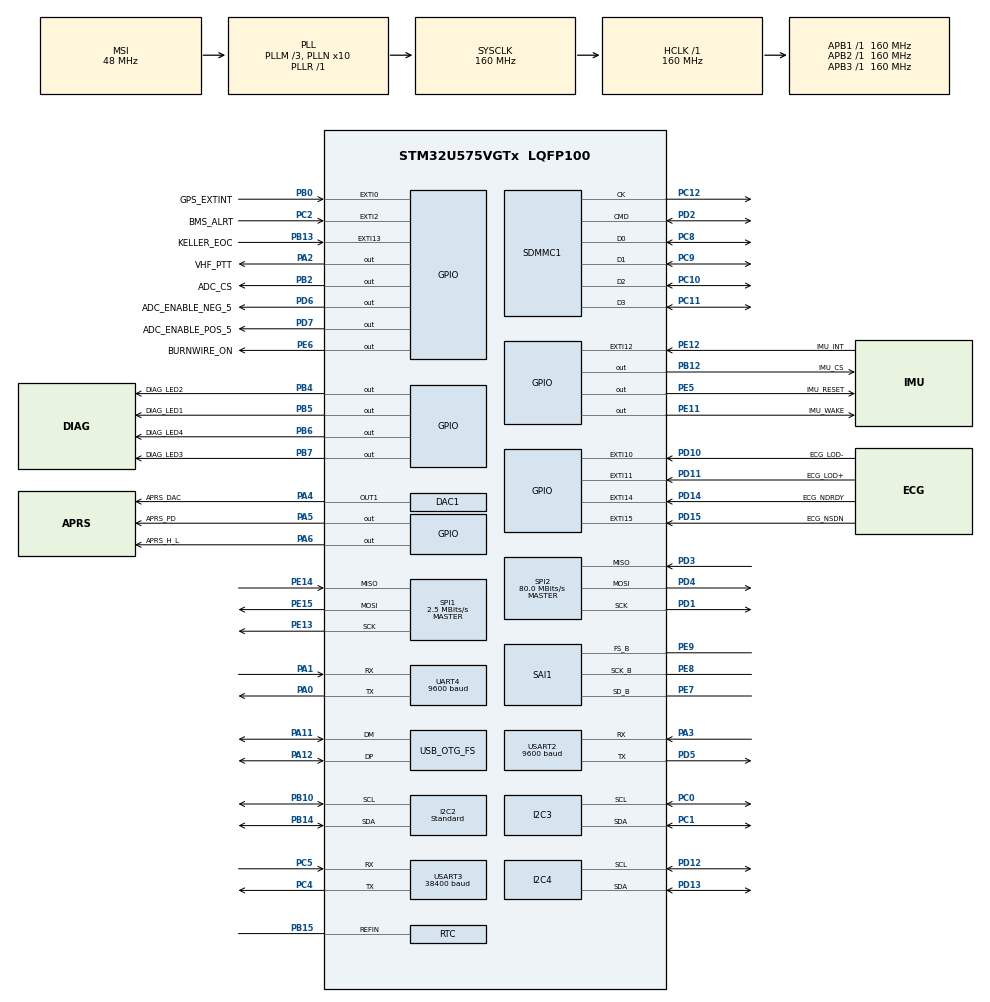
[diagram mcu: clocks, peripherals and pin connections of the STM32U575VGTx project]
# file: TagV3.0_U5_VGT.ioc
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CORTEX_M33_NS.userName=CORTEX_M33
DAC1.DAC_Channel-DAC_OUT1=DAC_CHANNEL_1
DAC1.DAC_OutputBuffer_OUT1-DAC_OUT1=DAC_OUTPUTBUFFER_ENABLE
DAC1.DAC_SampleAndHold-DAC_OUT1=DAC_SAMPLEANDHOLD_DISABLE
DAC1.DAC_SignedFormat-DAC_OUT1=DISABLE
DAC1.DAC_Trigger-DAC_OUT1=DAC_TRIGGER_T2_TRGO
DAC1.DAC_UserTrimming-DAC_OUT1=DAC_TRIMMING_FACTORY
FILEX.FILEX_APPLICATION_THREAD_PRIORITY=1
FILEX.FILEX_APPLICATION_THREAD_STACK_SIZE=2048
FILEX.FORMAT_SD_MEDIA=0
FILEX.FX_APP_MEM_POOL_SIZE=2500
FILEX.FX_DISABLE_ERROR_CHECKING=1
FILEX.FX_DONT_UPDATE_OPEN_FILES=1
FILEX.FX_DRIVER_SDMMC_INIT=0
FILEX.FX_ENABLE_EXFAT=1
FILEX.FX_EXFAT_MAX_CACHE_SIZE_NB_BIT=12
FILEX.FX_FAT_MAP_SIZE=256
FILEX.FX_FAULT_TOLERANT=1
FILEX.FX_FAULT_TOLERANT_CACHE_SIZE_NB_SIZE=14
FILEX.FX_FAULT_TOLERANT_DATA=1
FILEX.FX_SD_INTERFACE=1
FILEX.FX_UPDATE_RATE_IN_SECONDS=10
FILEX.useRTOS=1
GPDMA1.CIRCULARMODE_GPDMACH0=ENABLE
GPDMA1.CIRCULARMODE_GPDMACH1=ENABLE
GPDMA1.DESTBURSTLENGTH_GPDMACH0=1
GPDMA1.DESTDATAWIDTH_GPDMACH1=DMA_DEST_DATAWIDTH_WORD
GPDMA1.DESTINC_GPDMACH0=DMA_DINC_INCREMENTED
GPDMA1.DESTINC_GPDMACH1=DMA_DINC_FIXED
GPDMA1.DIRECTION_GPDMACH1=DMA_MEMORY_TO_PERIPH
GPDMA1.IPHANDLE_GPDMACH0-SIMPLEREQUEST_GPDMACH0=__NULL
GPDMA1.IPHANDLE_GPDMACH1-SIMPLEREQUEST_GPDMACH1=__NULL
GPDMA1.PRIORITY_LL_CIRCULAR_GPDMACH0=DMA_LOW_PRIORITY_LOW_WEIGHT
GPDMA1.PRIORITY_LL_CIRCULAR_GPDMACH1=DMA_LOW_PRIORITY_LOW_WEIGHT
GPDMA1.REQUEST_GPDMACH0=GPDMA1_REQUEST_SAI1_B
GPDMA1.REQUEST_GPDMACH1=GPDMA1_REQUEST_DAC1_CH1
GPDMA1.SRCBURSTLENGTH_GPDMACH0=1
GPDMA1.SRCDATAWIDTH_GPDMACH1=DMA_SRC_DATAWIDTH_WORD
GPDMA1.SRCINC_GPDMACH1=DMA_SINC_INCREMENTED
I2C2.I2C_Speed_Mode=I2C_Standard
I2C2.Speed=50
I2C2.Timing=0x90303EFE
I2C3.Timing=0x30909DEC
I2C4.Timing=0x30909DEC
Mcu.Family=STM32U5
Mcu.Name=STM32U575VGTx
Mcu.Package=LQFP100
NVIC.EXTI12_IRQn=true\:3\:0\:true\:false\:true\:false\:true\:true\:true
NVIC.EXTI13_IRQn=true\:0\:0\:false\:false\:true\:false\:true\:true\:true
NVIC.EXTI14_IRQn=true\:2\:0\:true\:false\:true\:false\:true\:true\:true
NVIC.GPDMA1_Channel0_IRQn=true\:0\:0\:false\:false\:true\:false\:false\:true\:true
NVIC.GPDMA1_Channel1_IRQn=true\:0\:0\:false\:false\:true\:true\:false\:true\:true
NVIC.OTG_FS_IRQn=true\:0\:0\:false\:false\:true\:false\:true\:true\:true
NVIC.PriorityGroup=NVIC_PRIORITYGROUP_4
NVIC.SDMMC1_IRQn=true\:0\:0\:true\:false\:true\:false\:true\:true\:true
NVIC.TIM2_IRQn=true\:0\:0\:false\:false\:true\:false\:true\:true\:true
NVIC.TIM6_IRQn=true\:15\:0\:false\:false\:true\:false\:false\:true\:true
NVIC.TimeBase=TIM6_IRQn
NVIC.TimeBaseIP=TIM6
NVIC.UART4_IRQn=true\:0\:0\:false\:false\:true\:false\:true\:true\:true
NVIC.USART2_IRQn=true\:0\:0\:false\:false\:true\:false\:true\:true\:true
NVIC.USART3_IRQn=true\:0\:0\:false\:false\:true\:false\:true\:true\:true
PA0.Mode=Asynchronous
PA0.Signal=UART4_TX
PA1.Mode=Asynchronous
PA1.Signal=UART4_RX
PA11.Mode=Device_Only
PA11.Signal=USB_OTG_FS_DM
PA12.Mode=Device_Only
PA12.Signal=USB_OTG_FS_DP
PA13\ (JTMS/SWDIO).Mode=Trace_Asynchronous_SW
PA13\ (JTMS/SWDIO).Signal=DEBUG_JTMS-SWDIO
PA14\ (JTCK/SWCLK).Mode=Trace_Asynchronous_SW
PA14\ (JTCK/SWCLK).Signal=DEBUG_JTCK-SWCLK
PA2.GPIO_Label=VHF_PTT
PA2.PinState=GPIO_PIN_RESET
PA2.Signal=GPIO_Output
PA3.Mode=Asynchronous
PA3.Signal=USART2_RX
PA4.GPIO_Label=APRS_DAC
PA4.Signal=COMP_DAC11_group
PA5.GPIO_Label=APRS_PD
PA5.PinState=GPIO_PIN_SET
PA5.Signal=GPIO_Output
PA6.GPIO_Label=APRS_H_L
PA6.Signal=GPIO_Output
PB0.GPIO_Label=GPS_EXTINT
PB0.Signal=GPXTI0
PB10.Mode=I2C
PB10.PinAttribute=Free
PB10.Signal=I2C2_SCL
PB12.GPIO_Label=IMU_CS
PB12.PinAttribute=Free
PB12.PinState=GPIO_PIN_SET
PB12.Signal=GPIO_Output
PB13.GPIO_Label=KELLER_EOC
PB13.PinAttribute=Free
PB13.Signal=GPXTI13
PB14.Mode=I2C
PB14.PinAttribute=Free
PB14.Signal=I2C2_SDA
PB15.Mode=Reference_Clock_Detection_Activate
PB15.PinAttribute=Free
PB15.Signal=RTC_REFIN
PB2.GPIO_Label=ADC_CS
PB2.PinState=GPIO_PIN_SET
PB2.Signal=GPIO_Output
PB3\ (JTDO/TRACESWO).Mode=Trace_Asynchronous_SW
PB3\ (JTDO/TRACESWO).Signal=DEBUG_JTDO-SWO
PB4\ (NJTRST).GPIO_Label=DIAG_LED2
PB4\ (NJTRST).Signal=GPIO_Output
PB5.GPIO_Label=DIAG_LED1
PB5.Signal=GPIO_Output
PB6.GPIO_Label=DIAG_LED4
PB6.Signal=GPIO_Output
PB7.GPIO_Label=DIAG_LED3
PB7.Signal=GPIO_Output
PC0.Mode=I2C
PC0.Signal=I2C3_SCL
PC1.Mode=I2C
PC1.PinAttribute=Free
PC1.Signal=I2C3_SDA
PC10.Mode=SD_4_bits_Wide_bus
PC10.PinAttribute=Free
PC10.Signal=SDMMC1_D2
PC11.Mode=SD_4_bits_Wide_bus
PC11.PinAttribute=Free
PC11.Signal=SDMMC1_D3
PC12.Mode=SD_4_bits_Wide_bus
PC12.PinAttribute=Free
PC12.Signal=SDMMC1_CK
PC14-OSC32_IN\ (PC14).Mode=LSE-External-Oscillator
PC14-OSC32_IN\ (PC14).Signal=RCC_OSC32_IN
PC15-OSC32_OUT\ (PC15).Mode=LSE-External-Oscillator
PC15-OSC32_OUT\ (PC15).Signal=RCC_OSC32_OUT
PC2.GPIO_Label=BMS_ALRT
PC2.PinAttribute=Free
PC2.Signal=GPXTI2
PC4.Mode=Asynchronous
PC4.Signal=USART3_TX
PC5.Mode=Asynchronous
PC5.Signal=USART3_RX
PC8.Mode=SD_4_bits_Wide_bus
PC8.PinAttribute=Free
PC8.Signal=SDMMC1_D0
PC9.Mode=SD_4_bits_Wide_bus
PC9.PinAttribute=Free
PC9.Signal=SDMMC1_D1
PD1.Mode=Full_Duplex_Master
PD1.PinAttribute=Free
PD1.Signal=SPI2_SCK
PD10.GPIO_Label=ECG_LOD-
PD10.PinAttribute=Free
PD10.Signal=GPXTI10
PD11.GPIO_Label=ECG_LOD+
PD11.PinAttribute=Free
PD11.Signal=GPXTI11
PD12.Mode=I2C
PD12.PinAttribute=Free
PD12.Signal=I2C4_SCL
PD13.Mode=I2C
PD13.PinAttribute=Free
PD13.Signal=I2C4_SDA
PD14.GPIO_Label=ECG_NDRDY
PD14.PinAttribute=Free
PD14.Signal=GPXTI14
PD15.GPIO_Label=ECG_NSDN
PD15.PinAttribute=Free
PD15.Signal=GPXTI15
PD2.Mode=SD_4_bits_Wide_bus
PD2.PinAttribute=Free
PD2.Signal=SDMMC1_CMD
PD3.Mode=Full_Duplex_Master
PD3.PinAttribute=Free
PD3.Signal=SPI2_MISO
PD4.Mode=Full_Duplex_Master
PD4.PinAttribute=Free
PD4.Signal=SPI2_MOSI
PD5.Mode=Asynchronous
PD5.Signal=USART2_TX
PD6.GPIO_Label=ADC_ENABLE_NEG_5
PD6.PinState=GPIO_PIN_RESET
PD6.Signal=GPIO_Output
PD7.GPIO_Label=ADC_ENABLE_POS_5
PD7.PinState=GPIO_PIN_RESET
PD7.Signal=GPIO_Output
PE11.GPIO_Label=IMU_WAKE
PE11.GPIO_ModeDefaultOutputPP=GPIO_MODE_OUTPUT_OD
PE11.GPIO_PuPd=GPIO_NOPULL
PE11.PinState=GPIO_PIN_SET
PE11.Signal=GPIO_Output
PE12.GPIO_Label=IMU_INT
PE12.GPIO_ModeDefaultEXTI=GPIO_MODE_IT_FALLING
PE12.Signal=GPXTI12
PE13.Mode=Full_Duplex_Master
PE13.Signal=SPI1_SCK
PE14.Mode=Full_Duplex_Master
PE14.Signal=SPI1_MISO
PE15.Mode=Full_Duplex_Master
PE15.Signal=SPI1_MOSI
PE5.GPIO_Label=IMU_RESET
PE5.PinState=GPIO_PIN_SET
PE5.Signal=GPIO_Output
PE6.GPIO_Label=BURNWIRE_ON
PE6.Signal=GPIO_Output
PE7.Mode=SAI_B_AsyncSlave
PE7.Signal=SAI1_SD_B
PE8.Mode=SAI_B_AsyncSlave
PE8.Signal=SAI1_SCK_B
PE9.Mode=SAI_B_AsyncSlave
PE9.Signal=SAI1_FS_B
PH0-OSC_IN\ (PH0).Mode=HSE-External-Oscillator
PH0-OSC_IN\ (PH0).Signal=RCC_OSC_IN
PH1-OSC_OUT\ (PH1).Mode=HSE-External-Oscillator
PH1-OSC_OUT\ (PH1).Signal=RCC_OSC_OUT
ProjectManager.HeapSize=0x200
ProjectManager.StackSize=0x400
ProjectManager.TargetToolchain=STM32CubeIDE
RCC.ADCFreq_Value=16000000
RCC.AHBFreq_Value=160000000
RCC.APB1Freq_Value=160000000
RCC.APB1TimFreq_Value=160000000
RCC.APB2Freq_Value=160000000
RCC.APB2TimFreq_Value=160000000
RCC.APB3Freq_Value=160000000
RCC.CK48CLockSelection=RCC_CLK48CLKSOURCE_HSI48
RCC.CortexFreq_Value=160000000
RCC.EPOD_VALUE=48000000
RCC.HCLKFreq_Value=160000000
RCC.HSE_VALUE=16000000
RCC.HSI48_VALUE=48000000
RCC.HSI_VALUE=16000000
RCC.LSIDIV_VALUE=32000
RCC.MSIClockRange=RCC_MSIRANGE_0
RCC.MSI_VALUE=48000000
RCC.PLL1P=1
RCC.PLL1R=1
RCC.PLL2FRACN=0
RCC.PLL2M=3
RCC.PLL2N=8
RCC.PLL2P=1
RCC.PLL3FRACN=0
RCC.PLLFRACN=0
RCC.PLLM=3
RCC.PLLN=10
RCC.SDMMCClockSelection=RCC_SDMMCCLKSOURCE_CLK48
RCC.SYSCLKFreq_VALUE=160000000
RCC.SYSCLKSource=RCC_SYSCLKSOURCE_PLLCLK
RCC.USBFreq_Value=48000000
RCC.VCOOutputFreq_Value=160000000
RTC.rtcPrivilegeFull=RTC_PRIVILEGE_FULL_NO
SAI1.ActiveFrameLength-SAI_B_AsyncSlave=1
SAI1.FSDefinition-SAI_B_AsyncSlave=SAI_FS_STARTFRAME
SAI1.FSOffset-SAI_B_AsyncSlave=SAI_FS_FIRSTBIT
SAI1.FSPolarity-SAI_B_AsyncSlave=SAI_FS_ACTIVE_LOW
SAI1.FrameLength-SAI_B_AsyncSlave=128
SAI1.Instance-SAI_B_AsyncSlave=SAI$Index_Block_B
SAI1.OutputDrive-SAI_B_AsyncSlave=SAI_OUTPUTDRIVE_DISABLE
SAI1.SlotActive-SAI_B_AsyncSlave=0x00000EEE
SAI1.SlotNumber-SAI_B_AsyncSlave=16
SAI1.VirtualMode-SAI_B_AsyncSlave=VM_SLAVE
SAI1.VirtualSlotActive-SAI_B_AsyncSlave=SAI_SLOT_USERSETTING
SAI1.VirtualSlotActive0-SAI_B_AsyncSlave=false
SAI1.VirtualSlotActive1-SAI_B_AsyncSlave=true
SAI1.VirtualSlotActive10-SAI_B_AsyncSlave=true
SAI1.VirtualSlotActive11-SAI_B_AsyncSlave=true
SAI1.VirtualSlotActive12-SAI_B_AsyncSlave=false
SAI1.VirtualSlotActive13-SAI_B_AsyncSlave=false
SAI1.VirtualSlotActive14-SAI_B_AsyncSlave=false
SAI1.VirtualSlotActive15-SAI_B_AsyncSlave=false
SAI1.VirtualSlotActive2-SAI_B_AsyncSlave=true
SAI1.VirtualSlotActive3-SAI_B_AsyncSlave=true
SAI1.VirtualSlotActive4-SAI_B_AsyncSlave=false
SAI1.VirtualSlotActive5-SAI_B_AsyncSlave=true
SAI1.VirtualSlotActive6-SAI_B_AsyncSlave=true
SAI1.VirtualSlotActive7-SAI_B_AsyncSlave=true
SAI1.VirtualSlotActive8-SAI_B_AsyncSlave=false
SAI1.VirtualSlotActive9-SAI_B_AsyncSlave=true
SDMMC1.ClockDiv=2
SDMMC1.ClockPowerSave=SDMMC_CLOCK_POWER_SAVE_DISABLE
SH.COMP_DAC11_group.0=DAC1_OUT1,DAC_OUT1
SPI1.BaudRatePrescaler=SPI_BAUDRATEPRESCALER_64
SPI1.CLKPhase=SPI_PHASE_2EDGE
SPI1.CLKPolarity=SPI_POLARITY_HIGH
SPI1.CalculateBaudRate=2.5 MBits/s
SPI1.DataSize=SPI_DATASIZE_8BIT
SPI1.Direction=SPI_DIRECTION_2LINES
SPI1.MasterInterDataIdleness=SPI_MASTER_INTERDATA_IDLENESS_08CYCLE
SPI1.Mode=SPI_MODE_MASTER
SPI1.VirtualType=VM_MASTER
SPI2.CalculateBaudRate=80.0 MBits/s
SPI2.Direction=SPI_DIRECTION_2LINES
SPI2.Mode=SPI_MODE_MASTER
SPI2.VirtualType=VM_MASTER
THREADX.AZRTOS_APP_MEM_ALLOCATION_METHOD=1
THREADX.TX_APP_MEM_POOL_SIZE=20*2048
THREADX.TX_MINIMUM_STACK=200
THREADX.TX_TIMER_TICKS_PER_SECOND=20000
TIM2.PeriodNoDither=45
TIM2.Prescaler=16-1
TIM2.TIM_MasterOutputTrigger=TIM_TRGO_UPDATE
UART4.BaudRate=9600
UART4.ClockPrescaler=PRESCALER_DIV1
UART4.OverrunDisableParam=UART_ADVFEATURE_OVERRUN_DISABLE
USART2.BaudRate=9600
USART2.FIFOMode=FIFOMODE_ENABLE
USART2.VirtualMode-Asynchronous=VM_ASYNC
USART3.BaudRate=38400
USART3.FIFOMode=FIFOMODE_ENABLE
USART3.VirtualMode-Asynchronous=VM_ASYNC
USBX.BSP.number=1
USBX.Core_System=1
USBX.MAX_POWER_IN_MILLI_AMPER=100
USBX.REG_USBX_DEVICE_CON_CK=1
USBX.USBD_CDCACM_EPINCMD_ADDR=3
USBX.USBD_CDCACM_EPINCMD_FS_BINTERVAL=6
USBX.USBD_CDCACM_EPIN_ADDR=4
USBX.USBD_CDCACM_EPOUT_ADDR=5
USBX.USBD_COMPOSITE_USE_IAD=1
USBX.USBD_PID=22304
USBX.USBD_PRODUCT_STRING=STM32 USB Device
USBX.USBX_DEVICE_APP_THREAD_PRIO=1
USBX.USBX_DEVICE_APP_THREAD_Size=2048
USBX.USBX_DEVICE_SYS_SIZE=15*1024
USBX.UX_DEVICE_APP_MEM_POOL_SIZE=20000
USBX.UX_DEVICE_CDC_ACM=1
USBX.UX_DEVICE_CLASS_CDC_ACM_TRANSMISSION_DISABLE=0
USBX.UX_DEVICE_CLASS_CDC_ACM_WRITE_AUTO_ZLP=1
USBX.UX_DEVICE_SIDE_ONLY=1
USBX.UX_DEVICE_STORAGE=1
USBX.UX_Device_Controller=1
USBX.UX_Device_CoreStack=1
USBX.UX_MAX_SLAVE_CLASS_DRIVER=2
USBX.UX_OTG_SUPPORT-UX_Device_CoreStack_FS=0
USBX.UX_SLAVE_CLASS_STORAGE_INCLUDE_MMC=0
USBX.UX_SLAVE_REQUEST_CONTROL_MAX_LENGTH=256
USBX.UX_SLAVE_REQUEST_DATA_MAX_LENGTH=512
USBX.UX_THREAD_PRIORITY_CLASS=1
USBX.UX_THREAD_PRIORITY_DCD=2
USBX0.BSP.STBoard=false
USBX0.BSP.api=Unknown
USBX0.BSP.condition=SEMAOoUSBOoOTGOoFSOoDEVICEOoFOROoUSBX & \!DIE455
USBX0.BSP.instance=USB_OTG_FS
USBX0.BSP.ip=USB_OTG_FS
USBX0.BSP.mode=Device_Only
USBX0.BSP.name=USBDevice
USBX0.BSP.solution=USB_OTG_FS
USB_OTG_FS.Sof_enable-Device_Only=ENABLE
USB_OTG_FS.VirtualMode=Device_Only
VP_FILEX_VS_FileOoSystemJjFileXJjCore.Mode=FileX_Core
VP_FILEX_VS_SDOointerface.Mode=SD_interface
VP_GPDMA1_VS_GPDMACH0.Mode=SIMPLEREQUEST_GPDMACH0
VP_GPDMA1_VS_GPDMACH1.Mode=SIMPLEREQUEST_GPDMACH1
VP_LPBAMQUEUE_VS_QUEUE.Mode=QUEUEMODE
VP_LPBAM_VS_SIG1.Mode=SmartRun
VP_LPBAM_VS_SIG4.Mode=LPDMA1
VP_PWR_VS_LPOM.Mode=PowerOptimisation
VP_PWR_VS_SECSignals.Mode=Security/Privilege
VP_RTC_VS_RTC_Activate.Mode=RTC_Enabled
VP_SYS_VS_tim6.Mode=TIM6
VP_THREADX_VS_RTOSJjThreadXJjCoreJjDefault.Mode=Core_Default
VP_TIM2_VS_ClockSourceINT.Mode=Internal
VP_USBX_Core_System.Mode=Core_System
VP_USBX_UX\ Device\ CDC\ ACM\ Class_FS.Mode=UX_Device_class_CDC_ACM_FS
VP_USBX_UX\ Device\ Controller_FS.Mode=UX_Device_Controller_FS
VP_USBX_UX\ Device\ CoreStack_FS.Mode=UX_Device_CoreStack_FS
VP_USBX_UX\ Device\ MSC_FS.Mode=UX_Device_class_MSC_FS
VREF+.Mode=InternalMode
VREF+.Signal=VREFBUF_OUT
VREFBUF.VoltageScaling=SYSCFG_VREFBUF_VOLTAGE_SCALE3
board=custom

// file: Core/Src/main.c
/* USER CODE BEGIN Header */
/**
  ******************************************************************************
  * @file           : main.c
  * @brief          : Main program body
  ******************************************************************************
  * @attention
  *
  * Copyright (c) 2023 STMicroelectronics.
  * All rights reserved.
  *
  * This software is licensed under terms that can be found in the LICENSE file
  * in the root directory of this software component.
  * If no LICENSE file comes with this software, it is provided AS-IS.
  *
  ******************************************************************************
  */
/* USER CODE END Header */
#include "app_threadx.h"
#include "main.h"

/* USER CODE BEGIN Includes */
//#include "config.h"
//#include "UnitTests.h"
#include "Sensor Inc/BNO08x.h"
#include "Sensor Inc/BMS.h"
#include "Sensor Inc/audio.h"
#include "Sensor Inc/ECG.h"
#include "Sensor Inc/KellerDepth.h"
#include "Sensor Inc/LightSensor.h"
#include "Sensor Inc/ad7768.h"
#include "app_filex.h"
#include "ux_device_cdc_acm.h"

/* USER CODE END Includes */

DAC_HandleTypeDef hdac1;
DMA_NodeTypeDef Node_GPDMA1_Channel1;
DMA_QListTypeDef List_GPDMA1_Channel1;
DMA_HandleTypeDef handle_GPDMA1_Channel1;

I2C_HandleTypeDef hi2c2;
I2C_HandleTypeDef hi2c3;
I2C_HandleTypeDef hi2c4;

RTC_HandleTypeDef hrtc;

SAI_HandleTypeDef hsai_BlockB1;
DMA_NodeTypeDef Node_GPDMA1_Channel0;
DMA_QListTypeDef List_GPDMA1_Channel0;
DMA_HandleTypeDef handle_GPDMA1_Channel0;

SD_HandleTypeDef hsd1;

SPI_HandleTypeDef hspi1;
SPI_HandleTypeDef hspi2;

TIM_HandleTypeDef htim2;

UART_HandleTypeDef huart4;
UART_HandleTypeDef huart2;
UART_HandleTypeDef huart3;

PCD_HandleTypeDef hpcd_USB_OTG_FS;

/* USER CODE BEGIN PV */

// usb handler
extern UX_SLAVE_CLASS_CDC_ACM *cdc_acm;

// define all sensor handlers
IMU_HandleTypeDef imu;
MAX17320_HandleTypeDef bms;
AudioManager audio;
ECG_HandleTypeDef ecg;
Keller_HandleTypedef depth_sensor;
LightSensorHandleTypedef light_sensor;

/* USER CODE END PV */

void SystemClock_Config(void);
static void MX_GPIO_Init(void);
static void MX_GPDMA1_Init(void);
static void MX_USART2_UART_Init(void);
static void MX_I2C4_Init(void);
static void MX_I2C3_Init(void);
static void MX_USB_OTG_FS_PCD_Init(void);
static void MX_SDMMC1_SD_Init(void);
static void MX_SPI1_Init(void);
static void MX_UART4_Init(void);
static void MX_RTC_Init(void);
static void MX_I2C2_Init(void);
static void MX_SAI1_Init(void);
static void MX_SPI2_Init(void);
static void MX_USART3_UART_Init(void);
static void MX_DAC1_Init(void);
static void MX_TIM2_Init(void);

int main(void)
{

  /* MCU Configuration--------------------------------------------------------*/

  /* Reset of all peripherals, Initializes the Flash interface and the Systick. */
  HAL_Init();

  /* USER CODE BEGIN Init */
  // disable interrupts (enabled later)
  HAL_NVIC_DisableIRQ(EXTI12_IRQn);
  HAL_NVIC_DisableIRQ(EXTI14_IRQn);
  /* USER CODE END Init */

  /* Configure the system clock */
  SystemClock_Config();

  /* Initialize all configured peripherals */
  MX_GPIO_Init();
  MX_GPDMA1_Init();
  MX_USART2_UART_Init();
  MX_I2C4_Init();
  MX_I2C3_Init();
  MX_USB_OTG_FS_PCD_Init();
  MX_SDMMC1_SD_Init();
  MX_SPI1_Init();
  MX_UART4_Init();
  MX_RTC_Init();
  MX_I2C2_Init();
  MX_SAI1_Init();
  MX_SPI2_Init();
  MX_USART3_UART_Init();
  MX_DAC1_Init();
  MX_TIM2_Init();
  /* USER CODE BEGIN 2 */

  // check status of battery
  HAL_StatusTypeDef ret = max17320_get_status(&bms);
  if (ret != HAL_OK) {
	  Error_Handler();
  }

  // Indicate hardware issue or connector plugged in before battery
  while (bms.status.protection_alert) {
    HAL_GPIO_WritePin(GPIOB, DIAG_LED3_Pin, GPIO_PIN_SET);
    max17320_clear_alerts(&bms);
    HAL_Delay(2000);
    max17320_get_status(&bms);
  }
  HAL_GPIO_WritePin(GPIOB, DIAG_LED3_Pin, GPIO_PIN_RESET);

  /* USER CODE END 2 */

  MX_ThreadX_Init();

  /* We should never get here as control is now taken by the scheduler */
  /* Infinite loop */
  while (1)
  {

  }
}

void SystemClock_Config(void)
{
  RCC_OscInitTypeDef RCC_OscInitStruct = {0};
  RCC_ClkInitTypeDef RCC_ClkInitStruct = {0};

  /** Configure the main internal regulator output voltage
  */
  if (HAL_PWREx_ControlVoltageScaling(PWR_REGULATOR_VOLTAGE_SCALE1) != HAL_OK)
  {
    Error_Handler();
  }

  /** Initializes the CPU, AHB and APB buses clocks
  */
  RCC_OscInitStruct.OscillatorType = RCC_OSCILLATORTYPE_HSI48|RCC_OSCILLATORTYPE_HSI
                              |RCC_OSCILLATORTYPE_LSI|RCC_OSCILLATORTYPE_MSI;
  RCC_OscInitStruct.HSIState = RCC_HSI_ON;
  RCC_OscInitStruct.HSI48State = RCC_HSI48_ON;
  RCC_OscInitStruct.HSICalibrationValue = RCC_HSICALIBRATION_DEFAULT;
  RCC_OscInitStruct.LSIState = RCC_LSI_ON;
  RCC_OscInitStruct.MSIState = RCC_MSI_ON;
  RCC_OscInitStruct.MSICalibrationValue = RCC_MSICALIBRATION_DEFAULT;
  RCC_OscInitStruct.MSIClockRange = RCC_MSIRANGE_0;
  RCC_OscInitStruct.LSIDiv = RCC_LSI_DIV1;
  RCC_OscInitStruct.PLL.PLLState = RCC_PLL_ON;
  RCC_OscInitStruct.PLL.PLLSource = RCC_PLLSOURCE_MSI;
  RCC_OscInitStruct.PLL.PLLMBOOST = RCC_PLLMBOOST_DIV4;
  RCC_OscInitStruct.PLL.PLLM = 3;
  RCC_OscInitStruct.PLL.PLLN = 10;
  RCC_OscInitStruct.PLL.PLLP = 1;
  RCC_OscInitStruct.PLL.PLLQ = 2;
  RCC_OscInitStruct.PLL.PLLR = 1;
  RCC_OscInitStruct.PLL.PLLRGE = RCC_PLLVCIRANGE_1;
  RCC_OscInitStruct.PLL.PLLFRACN = 0;
  if (HAL_RCC_OscConfig(&RCC_OscInitStruct) != HAL_OK)
  {
    Error_Handler();
  }

  /** Initializes the CPU, AHB and APB buses clocks
  */
  RCC_ClkInitStruct.ClockType = RCC_CLOCKTYPE_HCLK|RCC_CLOCKTYPE_SYSCLK
                              |RCC_CLOCKTYPE_PCLK1|RCC_CLOCKTYPE_PCLK2
                              |RCC_CLOCKTYPE_PCLK3;
  RCC_ClkInitStruct.SYSCLKSource = RCC_SYSCLKSOURCE_PLLCLK;
  RCC_ClkInitStruct.AHBCLKDivider = RCC_SYSCLK_DIV1;
  RCC_ClkInitStruct.APB1CLKDivider = RCC_HCLK_DIV1;
  RCC_ClkInitStruct.APB2CLKDivider = RCC_HCLK_DIV1;
  RCC_ClkInitStruct.APB3CLKDivider = RCC_HCLK_DIV1;

  if (HAL_RCC_ClockConfig(&RCC_ClkInitStruct, FLASH_LATENCY_4) != HAL_OK)
  {
    Error_Handler();
  }
}

static void MX_DAC1_Init(void)
{

  DAC_ChannelConfTypeDef sConfig = {0};
  DAC_AutonomousModeConfTypeDef sAutonomousMode = {0};

  /** DAC Initialization
  */
  hdac1.Instance = DAC1;
  if (HAL_DAC_Init(&hdac1) != HAL_OK)
  {
    Error_Handler();
  }

  /** DAC channel OUT1 config
  */
  sConfig.DAC_HighFrequency = DAC_HIGH_FREQUENCY_INTERFACE_MODE_DISABLE;
  sConfig.DAC_DMADoubleDataMode = DISABLE;
  sConfig.DAC_SignedFormat = DISABLE;
  sConfig.DAC_SampleAndHold = DAC_SAMPLEANDHOLD_DISABLE;
  sConfig.DAC_Trigger = DAC_TRIGGER_T2_TRGO;
  sConfig.DAC_OutputBuffer = DAC_OUTPUTBUFFER_ENABLE;
  sConfig.DAC_ConnectOnChipPeripheral = DAC_CHIPCONNECT_EXTERNAL;
  sConfig.DAC_UserTrimming = DAC_TRIMMING_FACTORY;
  if (HAL_DAC_ConfigChannel(&hdac1, &sConfig, DAC_CHANNEL_1) != HAL_OK)
  {
    Error_Handler();
  }

  /** Configure Autonomous Mode
  */
  sAutonomousMode.AutonomousModeState = DAC_AUTONOMOUS_MODE_DISABLE;
  if (HAL_DACEx_SetConfigAutonomousMode(&hdac1, &sAutonomousMode) != HAL_OK)
  {
    Error_Handler();
  }

}

static void MX_GPDMA1_Init(void)
{

  /* Peripheral clock enable */
  __HAL_RCC_GPDMA1_CLK_ENABLE();

  /* GPDMA1 interrupt Init */
    HAL_NVIC_SetPriority(GPDMA1_Channel0_IRQn, 0, 0);
    HAL_NVIC_EnableIRQ(GPDMA1_Channel0_IRQn);
    HAL_NVIC_SetPriority(GPDMA1_Channel1_IRQn, 0, 0);
    HAL_NVIC_EnableIRQ(GPDMA1_Channel1_IRQn);

}

static void MX_I2C2_Init(void)
{

  hi2c2.Instance = I2C2;
  hi2c2.Init.Timing = 0x90303EFE;
  hi2c2.Init.OwnAddress1 = 0;
  hi2c2.Init.AddressingMode = I2C_ADDRESSINGMODE_7BIT;
  hi2c2.Init.DualAddressMode = I2C_DUALADDRESS_DISABLE;
  hi2c2.Init.OwnAddress2 = 0;
  hi2c2.Init.OwnAddress2Masks = I2C_OA2_NOMASK;
  hi2c2.Init.GeneralCallMode = I2C_GENERALCALL_DISABLE;
  hi2c2.Init.NoStretchMode = I2C_NOSTRETCH_DISABLE;
  if (HAL_I2C_Init(&hi2c2) != HAL_OK)
  {
    Error_Handler();
  }

  /** Configure Analogue filter
  */
  if (HAL_I2CEx_ConfigAnalogFilter(&hi2c2, I2C_ANALOGFILTER_ENABLE) != HAL_OK)
  {
    Error_Handler();
  }

  /** Configure Digital filter
  */
  if (HAL_I2CEx_ConfigDigitalFilter(&hi2c2, 0) != HAL_OK)
  {
    Error_Handler();
  }

}

static void MX_I2C3_Init(void)
{

  hi2c3.Instance = I2C3;
  hi2c3.Init.Timing = 0x30909DEC;
  hi2c3.Init.OwnAddress1 = 0;
  hi2c3.Init.AddressingMode = I2C_ADDRESSINGMODE_7BIT;
  hi2c3.Init.DualAddressMode = I2C_DUALADDRESS_DISABLE;
  hi2c3.Init.OwnAddress2 = 0;
  hi2c3.Init.OwnAddress2Masks = I2C_OA2_NOMASK;
  hi2c3.Init.GeneralCallMode = I2C_GENERALCALL_DISABLE;
  hi2c3.Init.NoStretchMode = I2C_NOSTRETCH_DISABLE;
  if (HAL_I2C_Init(&hi2c3) != HAL_OK)
  {
    Error_Handler();
  }

  /** Configure Analogue filter
  */
  if (HAL_I2CEx_ConfigAnalogFilter(&hi2c3, I2C_ANALOGFILTER_ENABLE) != HAL_OK)
  {
    Error_Handler();
  }

  /** Configure Digital filter
  */
  if (HAL_I2CEx_ConfigDigitalFilter(&hi2c3, 0) != HAL_OK)
  {
    Error_Handler();
  }
  /* USER CODE BEGIN I2C3_Init 2 */

  // initialize bms
  HAL_StatusTypeDef ret = max17320_init(&hi2c3, &bms);
  if (ret != HAL_OK) {
	// indicate communication with bms has failed
	Error_Handler();
  }

  // enable discharging from battery
  ret = max17320_start_discharge(&bms);
  if (ret != HAL_OK) {
	// indicate communication with bms has failed
    Error_Handler();
  }

  /* USER CODE END I2C3_Init 2 */

}

static void MX_I2C4_Init(void)
{

  hi2c4.Instance = I2C4;
  hi2c4.Init.Timing = 0x30909DEC;
  hi2c4.Init.OwnAddress1 = 0;
  hi2c4.Init.AddressingMode = I2C_ADDRESSINGMODE_7BIT;
  hi2c4.Init.DualAddressMode = I2C_DUALADDRESS_DISABLE;
  hi2c4.Init.OwnAddress2 = 0;
  hi2c4.Init.OwnAddress2Masks = I2C_OA2_NOMASK;
  hi2c4.Init.GeneralCallMode = I2C_GENERALCALL_DISABLE;
  hi2c4.Init.NoStretchMode = I2C_NOSTRETCH_DISABLE;
  if (HAL_I2C_Init(&hi2c4) != HAL_OK)
  {
    Error_Handler();
  }

  /** Configure Analogue filter
  */
  if (HAL_I2CEx_ConfigAnalogFilter(&hi2c4, I2C_ANALOGFILTER_ENABLE) != HAL_OK)
  {
    Error_Handler();
  }

  /** Configure Digital filter
  */
  if (HAL_I2CEx_ConfigDigitalFilter(&hi2c4, 0) != HAL_OK)
  {
    Error_Handler();
  }

}

static void MX_RTC_Init(void)
{

  RTC_PrivilegeStateTypeDef privilegeState = {0};

  /** Initialize RTC Only
  */
  hrtc.Instance = RTC;
  hrtc.Init.HourFormat = RTC_HOURFORMAT_24;
  hrtc.Init.AsynchPrediv = 127;
  hrtc.Init.SynchPrediv = 255;
  hrtc.Init.OutPut = RTC_OUTPUT_DISABLE;
  hrtc.Init.OutPutRemap = RTC_OUTPUT_REMAP_NONE;
  hrtc.Init.OutPutPolarity = RTC_OUTPUT_POLARITY_HIGH;
  hrtc.Init.OutPutType = RTC_OUTPUT_TYPE_OPENDRAIN;
  hrtc.Init.OutPutPullUp = RTC_OUTPUT_PULLUP_NONE;
  hrtc.Init.BinMode = RTC_BINARY_NONE;
  if (HAL_RTC_Init(&hrtc) != HAL_OK)
  {
    Error_Handler();
  }
  privilegeState.rtcPrivilegeFull = RTC_PRIVILEGE_FULL_NO;
  privilegeState.backupRegisterPrivZone = RTC_PRIVILEGE_BKUP_ZONE_NONE;
  privilegeState.backupRegisterStartZone2 = RTC_BKP_DR0;
  privilegeState.backupRegisterStartZone3 = RTC_BKP_DR0;
  if (HAL_RTCEx_PrivilegeModeSet(&hrtc, &privilegeState) != HAL_OK)
  {
    Error_Handler();
  }

  /** Enable the reference Clock input
  */
  if (HAL_RTCEx_SetRefClock(&hrtc) != HAL_OK)
  {
    Error_Handler();
  }

}

static void MX_SAI1_Init(void)
{

  hsai_BlockB1.Instance = SAI1_Block_B;
  hsai_BlockB1.Init.Protocol = SAI_FREE_PROTOCOL;
  hsai_BlockB1.Init.AudioMode = SAI_MODESLAVE_RX;
  hsai_BlockB1.Init.DataSize = SAI_DATASIZE_8;
  hsai_BlockB1.Init.FirstBit = SAI_FIRSTBIT_MSB;
  hsai_BlockB1.Init.ClockStrobing = SAI_CLOCKSTROBING_FALLINGEDGE;
  hsai_BlockB1.Init.Synchro = SAI_ASYNCHRONOUS;
  hsai_BlockB1.Init.OutputDrive = SAI_OUTPUTDRIVE_DISABLE;
  hsai_BlockB1.Init.FIFOThreshold = SAI_FIFOTHRESHOLD_EMPTY;
  hsai_BlockB1.Init.SynchroExt = SAI_SYNCEXT_DISABLE;
  hsai_BlockB1.Init.MckOutput = SAI_MCK_OUTPUT_ENABLE;
  hsai_BlockB1.Init.MonoStereoMode = SAI_STEREOMODE;
  hsai_BlockB1.Init.CompandingMode = SAI_NOCOMPANDING;
  hsai_BlockB1.Init.TriState = SAI_OUTPUT_NOTRELEASED;
  hsai_BlockB1.Init.PdmInit.Activation = DISABLE;
  hsai_BlockB1.Init.PdmInit.MicPairsNbr = 1;
  hsai_BlockB1.Init.PdmInit.ClockEnable = SAI_PDM_CLOCK1_ENABLE;
  hsai_BlockB1.FrameInit.FrameLength = 128;
  hsai_BlockB1.FrameInit.ActiveFrameLength = 1;
  hsai_BlockB1.FrameInit.FSDefinition = SAI_FS_STARTFRAME;
  hsai_BlockB1.FrameInit.FSPolarity = SAI_FS_ACTIVE_LOW;
  hsai_BlockB1.FrameInit.FSOffset = SAI_FS_FIRSTBIT;
  hsai_BlockB1.SlotInit.FirstBitOffset = 0;
  hsai_BlockB1.SlotInit.SlotSize = SAI_SLOTSIZE_DATASIZE;
  hsai_BlockB1.SlotInit.SlotNumber = 16;
  hsai_BlockB1.SlotInit.SlotActive = 0x00000EEE;
  if (HAL_SAI_Init(&hsai_BlockB1) != HAL_OK)
  {
    Error_Handler();
  }

}

static void MX_SDMMC1_SD_Init(void)
{

  hsd1.Instance = SDMMC1;
  hsd1.Init.ClockEdge = SDMMC_CLOCK_EDGE_RISING;
  hsd1.Init.ClockPowerSave = SDMMC_CLOCK_POWER_SAVE_DISABLE;
  hsd1.Init.BusWide = SDMMC_BUS_WIDE_4B;
  hsd1.Init.HardwareFlowControl = SDMMC_HARDWARE_FLOW_CONTROL_DISABLE;
  hsd1.Init.ClockDiv = 2;
  if (HAL_SD_Init(&hsd1) != HAL_OK)
  {
    Error_Handler();
  }

}

static void MX_SPI1_Init(void)
{

  SPI_AutonomousModeConfTypeDef HAL_SPI_AutonomousMode_Cfg_Struct = {0};

  /* SPI1 parameter configuration*/
  hspi1.Instance = SPI1;
  hspi1.Init.Mode = SPI_MODE_MASTER;
  hspi1.Init.Direction = SPI_DIRECTION_2LINES;
  hspi1.Init.DataSize = SPI_DATASIZE_8BIT;
  hspi1.Init.CLKPolarity = SPI_POLARITY_HIGH;
  hspi1.Init.CLKPhase = SPI_PHASE_2EDGE;
  hspi1.Init.NSS = SPI_NSS_SOFT;
  hspi1.Init.BaudRatePrescaler = SPI_BAUDRATEPRESCALER_64;
  hspi1.Init.FirstBit = SPI_FIRSTBIT_MSB;
  hspi1.Init.TIMode = SPI_TIMODE_DISABLE;
  hspi1.Init.CRCCalculation = SPI_CRCCALCULATION_DISABLE;
  hspi1.Init.CRCPolynomial = 0x7;
  hspi1.Init.NSSPMode = SPI_NSS_PULSE_DISABLE;
  hspi1.Init.NSSPolarity = SPI_NSS_POLARITY_LOW;
  hspi1.Init.FifoThreshold = SPI_FIFO_THRESHOLD_01DATA;
  hspi1.Init.MasterSSIdleness = SPI_MASTER_SS_IDLENESS_00CYCLE;
  hspi1.Init.MasterInterDataIdleness = SPI_MASTER_INTERDATA_IDLENESS_08CYCLE;
  hspi1.Init.MasterReceiverAutoSusp = SPI_MASTER_RX_AUTOSUSP_DISABLE;
  hspi1.Init.MasterKeepIOState = SPI_MASTER_KEEP_IO_STATE_DISABLE;
  hspi1.Init.IOSwap = SPI_IO_SWAP_DISABLE;
  hspi1.Init.ReadyMasterManagement = SPI_RDY_MASTER_MANAGEMENT_INTERNALLY;
  hspi1.Init.ReadyPolarity = SPI_RDY_POLARITY_HIGH;
  if (HAL_SPI_Init(&hspi1) != HAL_OK)
  {
    Error_Handler();
  }
  HAL_SPI_AutonomousMode_Cfg_Struct.TriggerState = SPI_AUTO_MODE_DISABLE;
  HAL_SPI_AutonomousMode_Cfg_Struct.TriggerSelection = SPI_GRP1_GPDMA_CH0_TCF_TRG;
  HAL_SPI_AutonomousMode_Cfg_Struct.TriggerPolarity = SPI_TRIG_POLARITY_RISING;
  if (HAL_SPIEx_SetConfigAutonomousMode(&hspi1, &HAL_SPI_AutonomousMode_Cfg_Struct) != HAL_OK)
  {
    Error_Handler();
  }

}

static void MX_SPI2_Init(void)
{

  SPI_AutonomousModeConfTypeDef HAL_SPI_AutonomousMode_Cfg_Struct = {0};

  /* SPI2 parameter configuration*/
  hspi2.Instance = SPI2;
  hspi2.Init.Mode = SPI_MODE_MASTER;
  hspi2.Init.Direction = SPI_DIRECTION_2LINES;
  hspi2.Init.DataSize = SPI_DATASIZE_4BIT;
  hspi2.Init.CLKPolarity = SPI_POLARITY_LOW;
  hspi2.Init.CLKPhase = SPI_PHASE_1EDGE;
  hspi2.Init.NSS = SPI_NSS_SOFT;
  hspi2.Init.BaudRatePrescaler = SPI_BAUDRATEPRESCALER_2;
  hspi2.Init.FirstBit = SPI_FIRSTBIT_MSB;
  hspi2.Init.TIMode = SPI_TIMODE_DISABLE;
  hspi2.Init.CRCCalculation = SPI_CRCCALCULATION_DISABLE;
  hspi2.Init.CRCPolynomial = 0x7;
  hspi2.Init.NSSPMode = SPI_NSS_PULSE_ENABLE;
  hspi2.Init.NSSPolarity = SPI_NSS_POLARITY_LOW;
  hspi2.Init.FifoThreshold = SPI_FIFO_THRESHOLD_01DATA;
  hspi2.Init.MasterSSIdleness = SPI_MASTER_SS_IDLENESS_00CYCLE;
  hspi2.Init.MasterInterDataIdleness = SPI_MASTER_INTERDATA_IDLENESS_00CYCLE;
  hspi2.Init.MasterReceiverAutoSusp = SPI_MASTER_RX_AUTOSUSP_DISABLE;
  hspi2.Init.MasterKeepIOState = SPI_MASTER_KEEP_IO_STATE_DISABLE;
  hspi2.Init.IOSwap = SPI_IO_SWAP_DISABLE;
  hspi2.Init.ReadyMasterManagement = SPI_RDY_MASTER_MANAGEMENT_INTERNALLY;
  hspi2.Init.ReadyPolarity = SPI_RDY_POLARITY_HIGH;
  if (HAL_SPI_Init(&hspi2) != HAL_OK)
  {
    Error_Handler();
  }
  HAL_SPI_AutonomousMode_Cfg_Struct.TriggerState = SPI_AUTO_MODE_DISABLE;
  HAL_SPI_AutonomousMode_Cfg_Struct.TriggerSelection = SPI_GRP1_GPDMA_CH0_TCF_TRG;
  HAL_SPI_AutonomousMode_Cfg_Struct.TriggerPolarity = SPI_TRIG_POLARITY_RISING;
  if (HAL_SPIEx_SetConfigAutonomousMode(&hspi2, &HAL_SPI_AutonomousMode_Cfg_Struct) != HAL_OK)
  {
    Error_Handler();
  }

}

static void MX_TIM2_Init(void)
{

  TIM_ClockConfigTypeDef sClockSourceConfig = {0};
  TIM_MasterConfigTypeDef sMasterConfig = {0};

  htim2.Instance = TIM2;
  htim2.Init.Prescaler = 16-1;
  htim2.Init.CounterMode = TIM_COUNTERMODE_UP;
  htim2.Init.Period = 45;
  htim2.Init.ClockDivision = TIM_CLOCKDIVISION_DIV1;
  htim2.Init.AutoReloadPreload = TIM_AUTORELOAD_PRELOAD_DISABLE;
  if (HAL_TIM_Base_Init(&htim2) != HAL_OK)
  {
    Error_Handler();
  }
  sClockSourceConfig.ClockSource = TIM_CLOCKSOURCE_INTERNAL;
  if (HAL_TIM_ConfigClockSource(&htim2, &sClockSourceConfig) != HAL_OK)
  {
    Error_Handler();
  }
  sMasterConfig.MasterOutputTrigger = TIM_TRGO_UPDATE;
  sMasterConfig.MasterSlaveMode = TIM_MASTERSLAVEMODE_DISABLE;
  if (HAL_TIMEx_MasterConfigSynchronization(&htim2, &sMasterConfig) != HAL_OK)
  {
    Error_Handler();
  }

}

static void MX_UART4_Init(void)
{

  huart4.Instance = UART4;
  huart4.Init.BaudRate = 9600;
  huart4.Init.WordLength = UART_WORDLENGTH_8B;
  huart4.Init.StopBits = UART_STOPBITS_1;
  huart4.Init.Parity = UART_PARITY_NONE;
  huart4.Init.Mode = UART_MODE_TX_RX;
  huart4.Init.HwFlowCtl = UART_HWCONTROL_NONE;
  huart4.Init.OverSampling = UART_OVERSAMPLING_16;
  huart4.Init.OneBitSampling = UART_ONE_BIT_SAMPLE_DISABLE;
  huart4.Init.ClockPrescaler = UART_PRESCALER_DIV1;
  huart4.AdvancedInit.AdvFeatureInit = UART_ADVFEATURE_RXOVERRUNDISABLE_INIT;
  huart4.AdvancedInit.OverrunDisable = UART_ADVFEATURE_OVERRUN_DISABLE;
  if (HAL_UART_Init(&huart4) != HAL_OK)
  {
    Error_Handler();
  }
  if (HAL_UARTEx_SetTxFifoThreshold(&huart4, UART_TXFIFO_THRESHOLD_1_8) != HAL_OK)
  {
    Error_Handler();
  }
  if (HAL_UARTEx_SetRxFifoThreshold(&huart4, UART_RXFIFO_THRESHOLD_1_8) != HAL_OK)
  {
    Error_Handler();
  }
  if (HAL_UARTEx_DisableFifoMode(&huart4) != HAL_OK)
  {
    Error_Handler();
  }

}

static void MX_USART2_UART_Init(void)
{

  huart2.Instance = USART2;
  huart2.Init.BaudRate = 9600;
  huart2.Init.WordLength = UART_WORDLENGTH_8B;
  huart2.Init.StopBits = UART_STOPBITS_1;
  huart2.Init.Parity = UART_PARITY_NONE;
  huart2.Init.Mode = UART_MODE_TX_RX;
  huart2.Init.HwFlowCtl = UART_HWCONTROL_NONE;
  huart2.Init.OverSampling = UART_OVERSAMPLING_16;
  huart2.Init.OneBitSampling = UART_ONE_BIT_SAMPLE_DISABLE;
  huart2.Init.ClockPrescaler = UART_PRESCALER_DIV1;
  huart2.AdvancedInit.AdvFeatureInit = UART_ADVFEATURE_NO_INIT;
  if (HAL_UART_Init(&huart2) != HAL_OK)
  {
    Error_Handler();
  }
  if (HAL_UARTEx_SetTxFifoThreshold(&huart2, UART_TXFIFO_THRESHOLD_1_8) != HAL_OK)
  {
    Error_Handler();
  }
  if (HAL_UARTEx_SetRxFifoThreshold(&huart2, UART_RXFIFO_THRESHOLD_1_8) != HAL_OK)
  {
    Error_Handler();
  }
  if (HAL_UARTEx_EnableFifoMode(&huart2) != HAL_OK)
  {
    Error_Handler();
  }

}

static void MX_USART3_UART_Init(void)
{

  huart3.Instance = USART3;
  huart3.Init.BaudRate = 38400;
  huart3.Init.WordLength = UART_WORDLENGTH_8B;
  huart3.Init.StopBits = UART_STOPBITS_1;
  huart3.Init.Parity = UART_PARITY_NONE;
  huart3.Init.Mode = UART_MODE_TX_RX;
  huart3.Init.HwFlowCtl = UART_HWCONTROL_NONE;
  huart3.Init.OverSampling = UART_OVERSAMPLING_16;
  huart3.Init.OneBitSampling = UART_ONE_BIT_SAMPLE_DISABLE;
  huart3.Init.ClockPrescaler = UART_PRESCALER_DIV1;
  huart3.AdvancedInit.AdvFeatureInit = UART_ADVFEATURE_NO_INIT;
  if (HAL_UART_Init(&huart3) != HAL_OK)
  {
    Error_Handler();
  }
  if (HAL_UARTEx_SetTxFifoThreshold(&huart3, UART_TXFIFO_THRESHOLD_1_8) != HAL_OK)
  {
    Error_Handler();
  }
  if (HAL_UARTEx_SetRxFifoThreshold(&huart3, UART_RXFIFO_THRESHOLD_1_8) != HAL_OK)
  {
    Error_Handler();
  }
  if (HAL_UARTEx_EnableFifoMode(&huart3) != HAL_OK)
  {
    Error_Handler();
  }

}

static void MX_USB_OTG_FS_PCD_Init(void)
{

  hpcd_USB_OTG_FS.Instance = USB_OTG_FS;
  hpcd_USB_OTG_FS.Init.dev_endpoints = 6;
  hpcd_USB_OTG_FS.Init.phy_itface = PCD_PHY_EMBEDDED;
  hpcd_USB_OTG_FS.Init.Sof_enable = ENABLE;
  hpcd_USB_OTG_FS.Init.low_power_enable = DISABLE;
  hpcd_USB_OTG_FS.Init.lpm_enable = DISABLE;
  hpcd_USB_OTG_FS.Init.battery_charging_enable = DISABLE;
  hpcd_USB_OTG_FS.Init.use_dedicated_ep1 = DISABLE;
  hpcd_USB_OTG_FS.Init.vbus_sensing_enable = DISABLE;
  hpcd_USB_OTG_FS.Init.dma_enable = DISABLE;
  if (HAL_PCD_Init(&hpcd_USB_OTG_FS) != HAL_OK)
  {
    Error_Handler();
  }

}

static void MX_GPIO_Init(void)
{
  GPIO_InitTypeDef GPIO_InitStruct = {0};

  /* GPIO Ports Clock Enable */
  __HAL_RCC_GPIOE_CLK_ENABLE();
  __HAL_RCC_GPIOC_CLK_ENABLE();
  __HAL_RCC_GPIOH_CLK_ENABLE();
  __HAL_RCC_GPIOA_CLK_ENABLE();
  __HAL_RCC_GPIOB_CLK_ENABLE();
  __HAL_RCC_GPIOD_CLK_ENABLE();

  /*Configure GPIO pin Output Level */
  HAL_GPIO_WritePin(GPIOE, IMU_RESET_Pin|IMU_WAKE_Pin, GPIO_PIN_SET);

  /*Configure GPIO pin Output Level */
  HAL_GPIO_WritePin(BURNWIRE_ON_GPIO_Port, BURNWIRE_ON_Pin, GPIO_PIN_RESET);

  /*Configure GPIO pin Output Level */
  HAL_GPIO_WritePin(GPIOA, VHF_PTT_Pin|APRS_H_L_Pin, GPIO_PIN_RESET);

  /*Configure GPIO pin Output Level */
  HAL_GPIO_WritePin(APRS_PD_GPIO_Port, APRS_PD_Pin, GPIO_PIN_SET);

  /*Configure GPIO pin Output Level */
  HAL_GPIO_WritePin(GPIOB, ADC_CS_Pin|IMU_CS_Pin, GPIO_PIN_SET);

  /*Configure GPIO pin Output Level */
  HAL_GPIO_WritePin(GPIOD, ADC_ENABLE_NEG_5_Pin|ADC_ENABLE_POS_5_Pin, GPIO_PIN_RESET);

  /*Configure GPIO pin Output Level */
  HAL_GPIO_WritePin(GPIOB, DIAG_LED2_Pin|DIAG_LED1_Pin|DIAG_LED4_Pin|DIAG_LED3_Pin, GPIO_PIN_RESET);

  /*Configure GPIO pins : IMU_RESET_Pin BURNWIRE_ON_Pin */
  GPIO_InitStruct.Pin = IMU_RESET_Pin|BURNWIRE_ON_Pin;
  GPIO_InitStruct.Mode = GPIO_MODE_OUTPUT_PP;
  GPIO_InitStruct.Pull = GPIO_NOPULL;
  GPIO_InitStruct.Speed = GPIO_SPEED_FREQ_LOW;
  HAL_GPIO_Init(GPIOE, &GPIO_InitStruct);

  /*Configure GPIO pin : BMS_ALRT_Pin */
  GPIO_InitStruct.Pin = BMS_ALRT_Pin;
  GPIO_InitStruct.Mode = GPIO_MODE_IT_RISING;
  GPIO_InitStruct.Pull = GPIO_NOPULL;
  HAL_GPIO_Init(BMS_ALRT_GPIO_Port, &GPIO_InitStruct);

  /*Configure GPIO pins : VHF_PTT_Pin APRS_PD_Pin APRS_H_L_Pin */
  GPIO_InitStruct.Pin = VHF_PTT_Pin|APRS_PD_Pin|APRS_H_L_Pin;
  GPIO_InitStruct.Mode = GPIO_MODE_OUTPUT_PP;
  GPIO_InitStruct.Pull = GPIO_NOPULL;
  GPIO_InitStruct.Speed = GPIO_SPEED_FREQ_LOW;
  HAL_GPIO_Init(GPIOA, &GPIO_InitStruct);

  /*Configure GPIO pins : GPS_EXTINT_Pin KELLER_EOC_Pin */
  GPIO_InitStruct.Pin = GPS_EXTINT_Pin|KELLER_EOC_Pin;
  GPIO_InitStruct.Mode = GPIO_MODE_IT_RISING;
  GPIO_InitStruct.Pull = GPIO_NOPULL;
  HAL_GPIO_Init(GPIOB, &GPIO_InitStruct);

  /*Configure GPIO pins : ADC_CS_Pin IMU_CS_Pin DIAG_LED2_Pin DIAG_LED1_Pin
                           DIAG_LED4_Pin DIAG_LED3_Pin */
  GPIO_InitStruct.Pin = ADC_CS_Pin|IMU_CS_Pin|DIAG_LED2_Pin|DIAG_LED1_Pin
                          |DIAG_LED4_Pin|DIAG_LED3_Pin;
  GPIO_InitStruct.Mode = GPIO_MODE_OUTPUT_PP;
  GPIO_InitStruct.Pull = GPIO_NOPULL;
  GPIO_InitStruct.Speed = GPIO_SPEED_FREQ_LOW;
  HAL_GPIO_Init(GPIOB, &GPIO_InitStruct);

  /*Configure GPIO pin : IMU_WAKE_Pin */
  GPIO_InitStruct.Pin = IMU_WAKE_Pin;
  GPIO_InitStruct.Mode = GPIO_MODE_OUTPUT_OD;
  GPIO_InitStruct.Pull = GPIO_NOPULL;
  GPIO_InitStruct.Speed = GPIO_SPEED_FREQ_LOW;
  HAL_GPIO_Init(IMU_WAKE_GPIO_Port, &GPIO_InitStruct);

  /*Configure GPIO pin : IMU_INT_Pin */
  GPIO_InitStruct.Pin = IMU_INT_Pin;
  GPIO_InitStruct.Mode = GPIO_MODE_IT_FALLING;
  GPIO_InitStruct.Pull = GPIO_NOPULL;
  HAL_GPIO_Init(IMU_INT_GPIO_Port, &GPIO_InitStruct);

  /*Configure GPIO pins : ECG_LOD__Pin ECG_LOD_D11_Pin ECG_NDRDY_Pin ECG_NSDN_Pin */
  GPIO_InitStruct.Pin = ECG_LOD__Pin|ECG_LOD_D11_Pin|ECG_NDRDY_Pin|ECG_NSDN_Pin;
  GPIO_InitStruct.Mode = GPIO_MODE_IT_RISING;
  GPIO_InitStruct.Pull = GPIO_NOPULL;
  HAL_GPIO_Init(GPIOD, &GPIO_InitStruct);

  /*Configure GPIO pins : ADC_ENABLE_NEG_5_Pin ADC_ENABLE_POS_5_Pin */
  GPIO_InitStruct.Pin = ADC_ENABLE_NEG_5_Pin|ADC_ENABLE_POS_5_Pin;
  GPIO_InitStruct.Mode = GPIO_MODE_OUTPUT_PP;
  GPIO_InitStruct.Pull = GPIO_NOPULL;
  GPIO_InitStruct.Speed = GPIO_SPEED_FREQ_LOW;
  HAL_GPIO_Init(GPIOD, &GPIO_InitStruct);

  /* EXTI interrupt init*/
  HAL_NVIC_SetPriority(EXTI12_IRQn, 3, 0);
  HAL_NVIC_EnableIRQ(EXTI12_IRQn);

  HAL_NVIC_SetPriority(EXTI13_IRQn, 0, 0);
  HAL_NVIC_EnableIRQ(EXTI13_IRQn);

  HAL_NVIC_SetPriority(EXTI14_IRQn, 2, 0);
  HAL_NVIC_EnableIRQ(EXTI14_IRQn);

/* USER CODE BEGIN MX_GPIO_Init_2 */
  HAL_GPIO_WritePin(GPIOD, ADC_ENABLE_NEG_5_Pin, GPIO_PIN_SET);
  HAL_Delay(100);
  HAL_GPIO_WritePin(GPIOD, ADC_ENABLE_POS_5_Pin, GPIO_PIN_SET);
/* USER CODE END MX_GPIO_Init_2 */
}

/* USER CODE BEGIN 4 */
//Fake timer 2 init function so we can change the period value during runtime
void MX_TIM2_Fake_Init(uint8_t newPeriod){

  TIM_ClockConfigTypeDef sClockSourceConfig = {0};
  TIM_MasterConfigTypeDef sMasterConfig = {0};

  /* USER CODE BEGIN TIM2_Init 1 */

  /* USER CODE END TIM2_Init 1 */
  htim2.Instance = TIM2;
  htim2.Init.Prescaler = 16 - 1;
  htim2.Init.CounterMode = TIM_COUNTERMODE_UP;
  htim2.Init.Period = newPeriod - 1;
  htim2.Init.ClockDivision = TIM_CLOCKDIVISION_DIV1;
  htim2.Init.AutoReloadPreload = TIM_AUTORELOAD_PRELOAD_DISABLE;
  if (HAL_TIM_Base_Init(&htim2) != HAL_OK)
  {
	Error_Handler();
  }
  sClockSourceConfig.ClockSource = TIM_CLOCKSOURCE_INTERNAL;
  if (HAL_TIM_ConfigClockSource(&htim2, &sClockSourceConfig) != HAL_OK)
  {
	Error_Handler();
  }
  sMasterConfig.MasterOutputTrigger = TIM_TRGO_UPDATE;
  sMasterConfig.MasterSlaveMode = TIM_MASTERSLAVEMODE_DISABLE;
  if (HAL_TIMEx_MasterConfigSynchronization(&htim2, &sMasterConfig) != HAL_OK)
  {
	Error_Handler();
  }
}

//Fake SD card initialization function so we can change the clock divison during runtime
void MX_SDMMC1_SD_Fake_Init(uint8_t newClockDiv)
{

  /* USER CODE BEGIN SDMMC1_Init 0 */

  /* USER CODE END SDMMC1_Init 0 */

  /* USER CODE BEGIN SDMMC1_Init 1 */

  /* USER CODE END SDMMC1_Init 1 */
  hsd1.Instance = SDMMC1;
  hsd1.Init.ClockEdge = SDMMC_CLOCK_EDGE_RISING;
  hsd1.Init.ClockPowerSave = SDMMC_CLOCK_POWER_SAVE_DISABLE;
  hsd1.Init.BusWide = SDMMC_BUS_WIDE_4B;
  hsd1.Init.HardwareFlowControl = SDMMC_HARDWARE_FLOW_CONTROL_DISABLE;
  hsd1.Init.ClockDiv = newClockDiv;
  if (HAL_SD_Init(&hsd1) != HAL_OK)
  {
    Error_Handler();
  }
  /* USER CODE BEGIN SDMMC1_Init 2 */

  /* USER CODE END SDMMC1_Init 2 */

}

/* USER CODE END 4 */

void HAL_TIM_PeriodElapsedCallback(TIM_HandleTypeDef *htim)
{
  if (htim->Instance == TIM6) {
    HAL_IncTick();
  }
}

void Error_Handler(void)
{
  /* USER CODE BEGIN Error_Handler_Debug */
  /* User can add his own implementation to report the HAL error return state */
  __disable_irq();
  HAL_GPIO_WritePin(GPIOB, DIAG_LED3_Pin, GPIO_PIN_SET);

  ULONG actual_length = 0;
  uint8_t receiveBuf[32] = {0};

  while (1)
  {
    // constantly listen to commands on uart and usb
	HAL_StatusTypeDef ret = HAL_UART_Receive(&huart2, &receiveBuf[0], 1, 1000);
	if ((ret == HAL_OK) & (receiveBuf[0] == 0x24)) {
	  max17320_close_fets(&bms);
	}

	if (cdc_acm != UX_NULL) {
		ULONG status = ux_device_class_cdc_acm_read(cdc_acm, (UCHAR *) &receiveBuf[0], 1, &actual_length);
		if ((status == UX_SUCCESS) & (receiveBuf[0] == 0x24)) {
		  max17320_close_fets(&bms);
		}
	}
  }
  /* USER CODE END Error_Handler_Debug */
}
